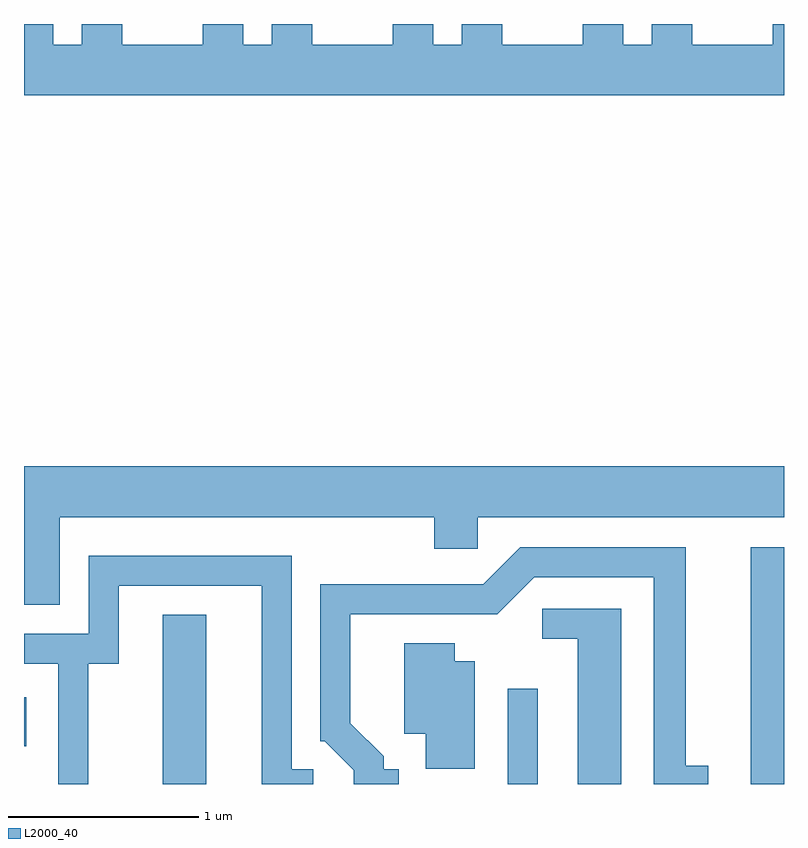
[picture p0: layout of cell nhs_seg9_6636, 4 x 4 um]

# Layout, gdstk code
import gdstk
lib = gdstk.Library(unit=1e-6, precision=1e-09)
def R(c, l, rs):  # rectangles x0, y0, x1, y1
    for r in rs: c.add(gdstk.rectangle(r[:2], r[2:], *l))
def P(c, l, *ps):  # polygons
    for p in ps: c.add(gdstk.Polygon(p, *l))
L2000_40 = (2000, 40)

nhs_seg9_6636 = lib.new_cell('nhs_seg9_6636')
R(nhs_seg9_6636, L2000_40, [(382.341,1970.432,382.569,1971.324), (384.156,1970.432,384.314,1970.933), (385.436,1970.432,385.611,1971.679), (381.611,1970.631,381.624,1970.889)])
P(nhs_seg9_6636, L2000_40, [(384.551,1974.432),(384.551,1974.324),(384.129,1974.324),(384.129,1974.432),(383.916,1974.432),(383.916,1974.324),(383.764,1974.324),(383.764,1974.432),(383.551,1974.432),(383.551,1974.324),(383.129,1974.324),(383.129,1974.432),(382.916,1974.432),(382.916,1974.324),(382.764,1974.324),(382.764,1974.432),(382.551,1974.432),(382.551,1974.324),(382.129,1974.324),(382.129,1974.432),(381.916,1974.432),(381.916,1974.324),(381.764,1974.324),(381.764,1974.432),(381.611,1974.432),(381.611,1974.056),(385.611,1974.056),(385.611,1974.432),(385.551,1974.432),(385.551,1974.324),(385.129,1974.324),(385.129,1974.432),(384.916,1974.432),(384.916,1974.324),(384.764,1974.324),(384.764,1974.432)],
  [(381.799,1971.836),(383.771,1971.836),(383.771,1971.671),(383.999,1971.671),(383.999,1971.836),(385.611,1971.836),(385.611,1972.104),(381.611,1972.104),(381.611,1971.376),(381.799,1971.376)],
  [(383.583,1970.509),(383.504,1970.509),(383.504,1970.577),(383.329,1970.752),(383.329,1971.326),(384.102,1971.326),(384.297,1971.521),(384.926,1971.521),(384.926,1970.432),(385.213,1970.432),(385.213,1970.529),(385.094,1970.529),(385.094,1971.679),(384.224,1971.679),(384.029,1971.484),(383.171,1971.484),(383.171,1970.656),(383.194,1970.656),(383.346,1970.504),(383.346,1970.432),(383.583,1970.432)],
  [(381.949,1971.066),(382.109,1971.066),(382.109,1971.476),(382.861,1971.476),(382.861,1970.432),(383.133,1970.432),(383.133,1970.509),(383.019,1970.509),(383.019,1971.634),(381.951,1971.634),(381.951,1971.224),(381.611,1971.224),(381.611,1971.066),(381.791,1971.066),(381.791,1970.432),(381.949,1970.432)],
  [(384.754,1971.354),(384.338,1971.354),(384.338,1971.196),(384.526,1971.196),(384.526,1970.432),(384.754,1970.432)],
  [(383.984,1971.079),(383.879,1971.079),(383.879,1971.174),(383.611,1971.174),(383.611,1970.696),(383.726,1970.696),(383.726,1970.511),(383.984,1970.511)])

lib.write_gds('nhs_seg9_6636.gds')
